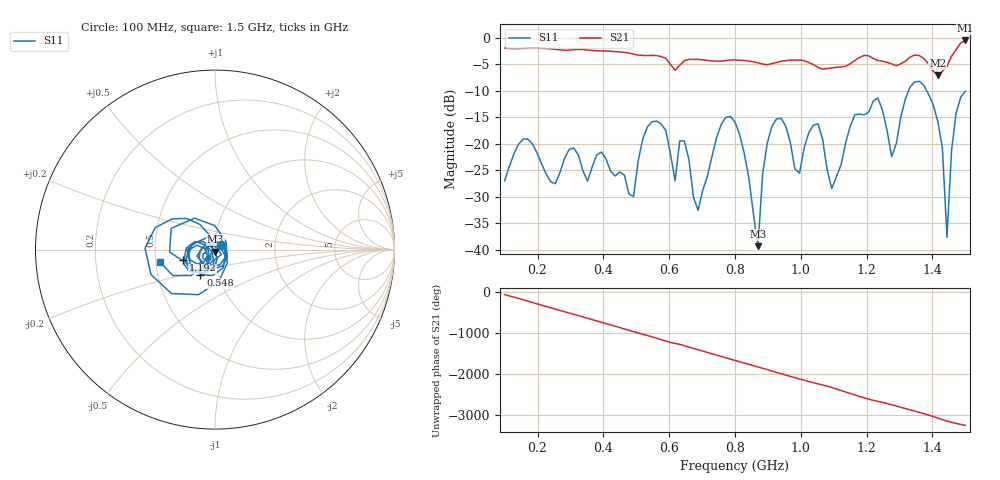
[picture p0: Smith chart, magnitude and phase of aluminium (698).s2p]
! NanoVNA-App
! Date: 2025-09-25 15:00:43
! Start: 100MHz Stop: 1,5GHz Points: 101
! S-Parameter data: F S11 S21 S12 S22
# Hz S RI R 50
!  Frequency  S11_Real  S11_Imag  S21_Real  S21_Imag  S12_Real  S12_Imag  S22_Real  S22_Imag
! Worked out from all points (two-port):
!   101 points, 100 MHz to 1.5 GHz, reference 50 ohm
!   highest |S21| = -0.49 dB at 1.5 GHz (marker M1); lowest = -7.1 dB at 1.416 GHz (marker M2)
!   |S21| within 3 dB of the highest: start of sweep to 572.6 MHz; 1.458 GHz to end of sweep (the widest 2 of 4)
!   lowest |S11| = -39.3 dB at 870 MHz (marker M3), VSWR 1.02, Z = 50.1 - j1.08 ohm
!   |S11| at or under -10 dB: start of sweep to 1.327 GHz; 1.383 GHz to end of sweep
!   S12 and S22 are empty: the file has one direction only
!   S11 on the Smith chart (normalised r, x): 100 MHz: 1.07, +0.06; 548 MHz: 0.82, -0.24; 1.192 GHz: 0.69, -0.08; 1.5 GHz: 0.53, -0.08
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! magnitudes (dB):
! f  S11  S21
! 100 MHz  -27.0  -1.9
! 156 MHz  -19.1  -2.0
! 338 MHz  -25.1  -2.2
! 492 MHz  -29.9  -3.1
! 548 MHz  -15.8  -3.3
! 576 MHz  -16.3  -3.5
! 646 MHz  -19.4  -4.3
! 688 MHz  -32.5  -4.1
! 800 MHz  -15.9  -4.1
! 870 MHz  -39.3  -4.7
! 912 MHz  -16.7  -4.9
! 996 MHz  -25.5  -4.2
! 1.038 GHz  -16.5  -5.0
! 1.094 GHz  -28.4  -5.7
! 1.192 GHz  -14.5  -3.3
! 1.234 GHz  -11.3  -4.3
! 1.276 GHz  -22.4  -4.9
! 1.346 GHz  -8.3  -3.2
! 1.416 GHz  -15.7  -7.1
! 1.444 GHz  -37.6  -5.4
! 1.472 GHz  -14.1  -2.2
! 1.5 GHz  -10.1  -0.5
